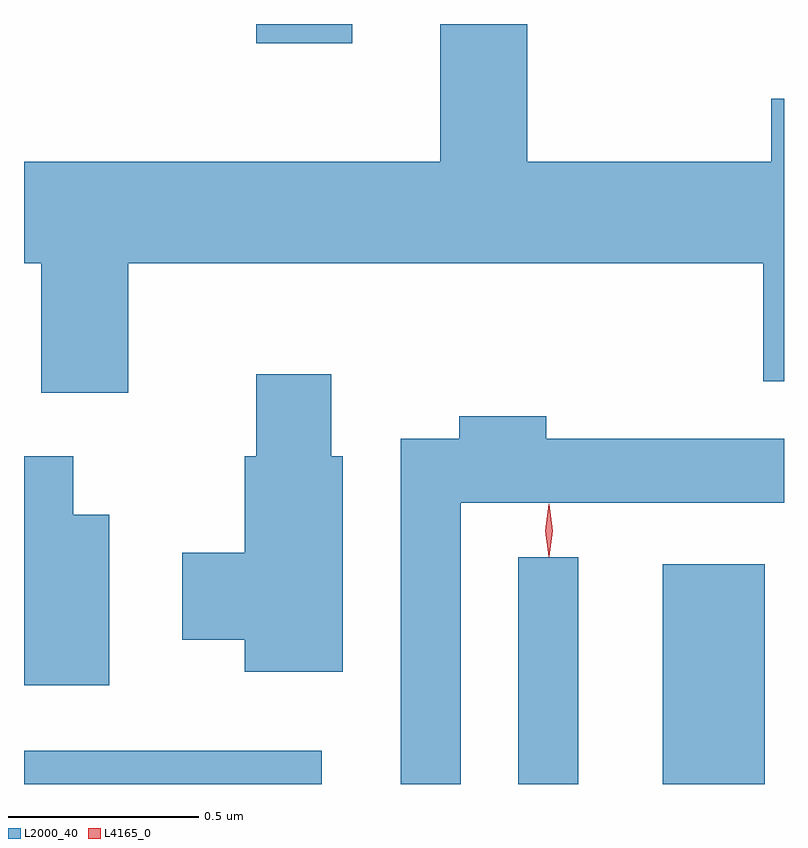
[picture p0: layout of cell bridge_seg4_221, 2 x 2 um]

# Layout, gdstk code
import gdstk
lib = gdstk.Library(unit=1e-6, precision=1e-09)
def R(c, l, rs):  # rectangles x0, y0, x1, y1
    for r in rs: c.add(gdstk.rectangle(r[:2], r[2:], *l))
def P(c, l, *ps):  # polygons
    for p in ps: c.add(gdstk.Polygon(p, *l))
L2000_40 = (2000, 40)
L4165_0 = (4165, 0)

bridge_seg4_221 = lib.new_cell('bridge_seg4_221')
R(bridge_seg4_221, L2000_40, [(1067.905,1288.926,1068.689,1289.014), (1069.206,1288.926,1069.364,1289.523), (1069.586,1288.926,1069.854,1289.504), (1068.516,1290.876,1068.769,1290.926)])
P(bridge_seg4_221, L2000_40, [(1068.179,1290.296),(1069.851,1290.296),(1069.851,1289.986),(1069.905,1289.986),(1069.905,1290.729),(1069.871,1290.729),(1069.871,1290.564),(1069.229,1290.564),(1069.229,1290.926),(1069.001,1290.926),(1069.001,1290.564),(1067.905,1290.564),(1067.905,1290.296),(1067.951,1290.296),(1067.951,1289.956),(1068.179,1289.956)],
  [(1068.744,1289.789),(1068.714,1289.789),(1068.714,1290.004),(1068.516,1290.004),(1068.516,1289.789),(1068.486,1289.789),(1068.486,1289.534),(1068.321,1289.534),(1068.321,1289.306),(1068.486,1289.306),(1068.486,1289.221),(1068.744,1289.221)],
  [(1069.054,1289.666),(1069.905,1289.666),(1069.905,1289.834),(1069.279,1289.834),(1069.279,1289.894),(1069.051,1289.894),(1069.051,1289.834),(1068.896,1289.834),(1068.896,1288.926),(1069.054,1288.926)],
  [(1068.129,1289.634),(1068.034,1289.634),(1068.034,1289.789),(1067.905,1289.789),(1067.905,1289.186),(1068.129,1289.186)])
P(bridge_seg4_221, L4165_0, [(1069.287,1289.523),(1069.286,1289.524),(1069.277,1289.593),(1069.286,1289.662),(1069.287,1289.663),(1069.287,1289.662),(1069.297,1289.593),(1069.287,1289.524)])

lib.write_gds('bridge_seg4_221.gds')
